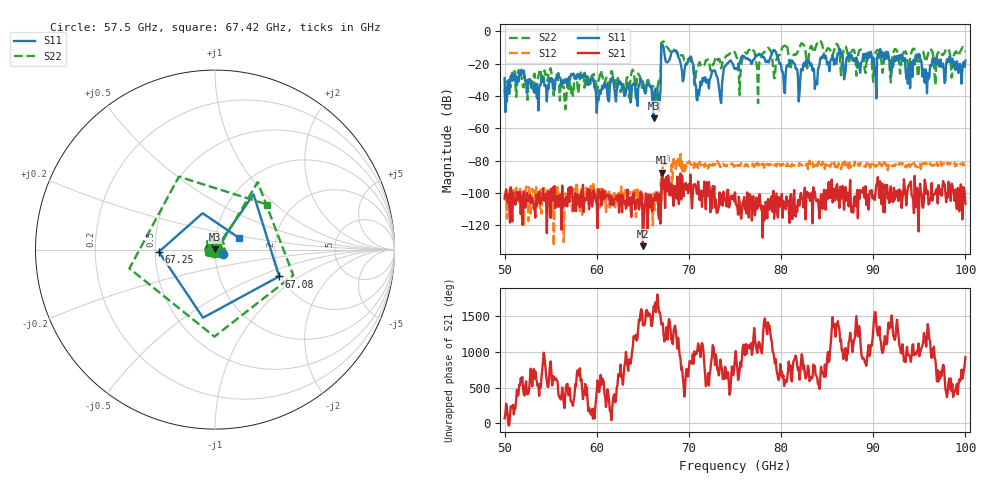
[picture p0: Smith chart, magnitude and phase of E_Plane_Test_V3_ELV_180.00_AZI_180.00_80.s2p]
! 11/26/2026 4:53:26 PM
! C:\ANRITSUVNA\TEMP\TEMP.S2P
! CHANNEL.1
! TR.MEASUREMENT
! RAW.DATA
# HZ S RI R 50.0
! FREQ.HZ  S11RE  S11IM  S21RE  S21IM  S12RE  S12IM  S22RE  S22IM
!; PortSelection: Port_12
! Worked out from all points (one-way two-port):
!   601 points, 50 GHz to 100 GHz, reference 50 ohm
!   highest |S21| = -87.57 dB at 67.08 GHz (marker M1); lowest = -133.0 dB at 65 GHz (marker M2)
!   lowest |S11| = -53.9 dB at 66.17 GHz (marker M3), VSWR 1.00, Z = 50.1 + j0.147 ohm
!   |S11| at or under -10 dB: start of sweep to 67 GHz; 67.25 GHz to end of sweep
!   |S22| runs from -48.2 to -5.6 dB; largest |S21 - S12| = 0.00019
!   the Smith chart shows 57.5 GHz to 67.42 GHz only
!   S11 on the Smith chart (normalised r, x): 57.5 GHz: 1.09, -0.05; 67.08 GHz: 1.95, -0.69; 67.25 GHz: 0.52, -0.01; 67.42 GHz: 1.29, +0.18
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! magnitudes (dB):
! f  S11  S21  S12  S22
! 50 GHz  -28.9  -103.4  -101.5  -35.7
! 51.67 GHz  -26.3  -99.5  -97.5  -23.2
! 57.5 GHz  -26.1  -111.2  -105.4  -34.6
! 58.42 GHz  -27.1  -108.3  -113.5  -24.7
! 60.17 GHz  -42.8  -97.8  -104.0  -30.4
! 65 GHz  -31.0  -133.0  -102.7  -31.9
! 66.17 GHz  -53.9  -103.3  -99.7  -34.0
! 66.67 GHz  -41.5  -108.3  -113.3  -31.6
! 67.08 GHz  -8.2  -87.6  -104.3  -6.8
! 67.25 GHz  -10.1  -97.3  -78.6  -6.2
! 67.42 GHz  -16.6  -109.4  -82.9  -8.3
! 70.25 GHz  -15.9  -102.2  -82.4  -18.8
! 70.92 GHz  -42.7  -100.8  -82.1  -23.1
! 75 GHz  -23.3  -99.7  -81.4  -13.0
! 79.25 GHz  -11.5  -116.0  -83.0  -29.0
! 80.25 GHz  -27.8  -105.2  -82.6  -9.3
! 83.42 GHz  -24.3  -118.9  -81.5  -10.8
! 91.67 GHz  -16.6  -101.5  -81.8  -15.2
! 93.75 GHz  -32.3  -97.7  -81.0  -21.3
! 94.83 GHz  -15.1  -107.9  -84.1  -28.1
! 95.83 GHz  -38.3  -98.5  -82.3  -16.6
! 100 GHz  -18.0  -106.8  -83.1  -12.5
